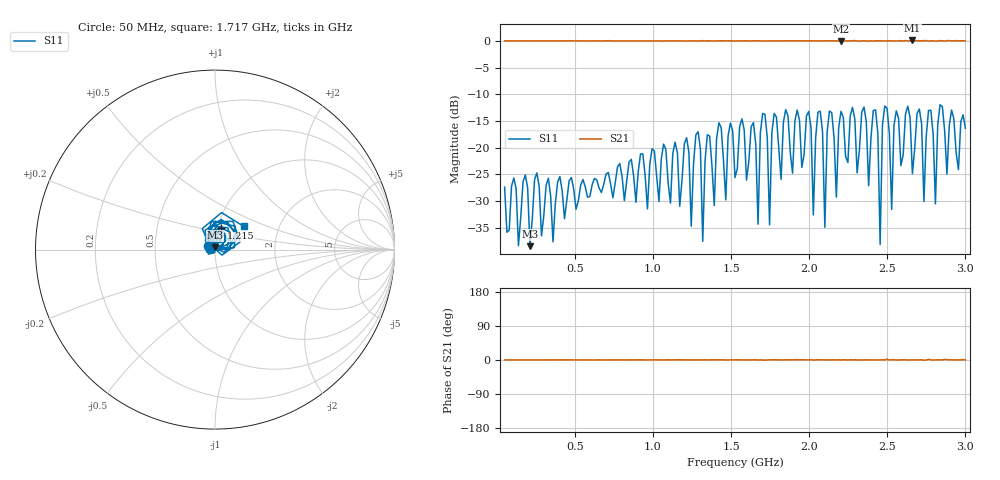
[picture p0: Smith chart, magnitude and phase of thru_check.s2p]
! nanovna_capture.py 2026-10-26T20:56:40+0900
! NanoVNA-F_V2 fw 0.6.0 SN 4A3639384505514B
! cal: load open short thru cal'ed  over 50000000-3000000000 Hz, 201 points
! points 201, avg 2
! thru adapter right after cal (check)
# HZ S RI R 50
! S12 and S22 are not measured (written as 0)
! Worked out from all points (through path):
!   201 points, 50 MHz to 3 GHz, reference 50 ohm
!   highest |S21| = 0.08 dB at 2.661 GHz (marker M1); lowest = -0.1 dB at 2.204 GHz (marker M2)
!   lowest |S11| = -38.4 dB at 212.2 MHz (marker M3), VSWR 1.02, Z = 50 + j1.2 ohm
!   |S11| at or under -10 dB: start of sweep to end of sweep
!   S12 and S22 are empty: the file has one direction only
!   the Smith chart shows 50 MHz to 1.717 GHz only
!   S11 on the Smith chart (normalised r, x): 50 MHz: 0.93, +0.04; 1.215 GHz: 1.04, +0.25; 1.717 GHz: 1.32, +0.36
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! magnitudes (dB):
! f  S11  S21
! 50 MHz  -27.4  0.0
! 212.2 MHz  -38.4  0.0
! 551.5 MHz  -25.9  0.0
! 1.038 GHz  -30.1  0.0
! 1.215 GHz  -18.1  0.0
! 1.319 GHz  -37.5  0.0
! 1.348 GHz  -17.6  0.0
! 1.525 GHz  -25.6  0.0
! 1.643 GHz  -15.3  0.0
! 1.673 GHz  -34.3  0.0
! 1.717 GHz  -13.7  0.0
! 1.746 GHz  -34.4  0.0
! 1.849 GHz  -12.9  0.0
! 1.997 GHz  -13.2  0.0
! 2.026 GHz  -32.6  0.0
! 2.204 GHz  -13.2  -0.1
! 2.425 GHz  -12.9  0.0
! 2.454 GHz  -38.1  0.0
! 2.469 GHz  -15.8  0.0
! 2.513 GHz  -17.3  0.0
! 2.661 GHz  -24.9  0.1
! 3 GHz  -16.4  0.0
